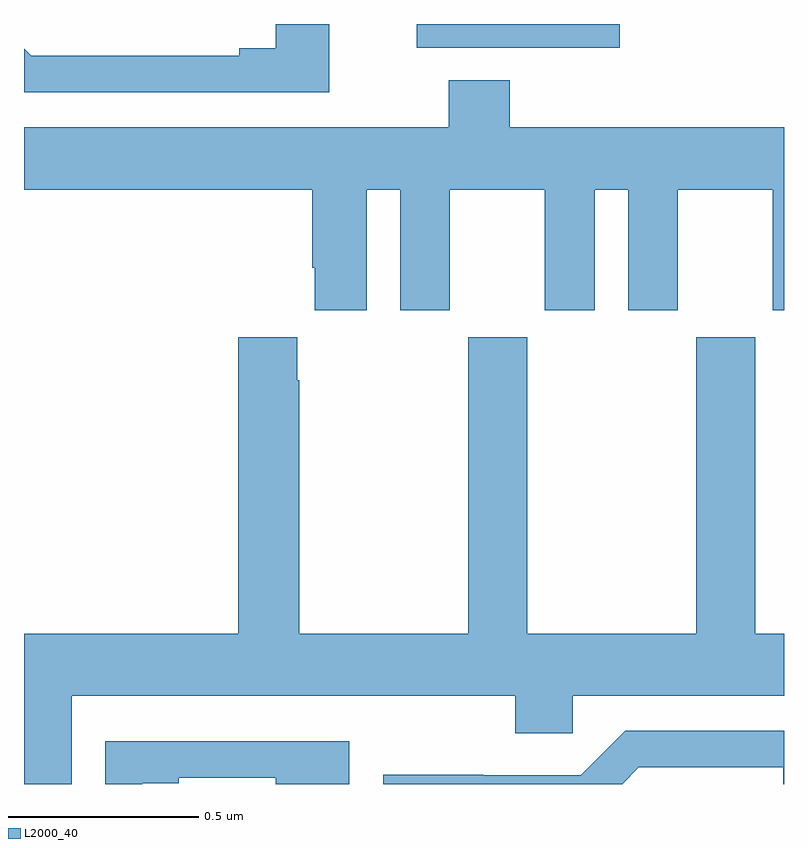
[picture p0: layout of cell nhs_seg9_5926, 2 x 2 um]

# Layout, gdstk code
import gdstk
lib = gdstk.Library(unit=1e-6, precision=1e-09)
def R(c, l, rs):  # rectangles x0, y0, x1, y1
    for r in rs: c.add(gdstk.rectangle(r[:2], r[2:], *l))
def P(c, l, *ps):  # polygons
    for p in ps: c.add(gdstk.Polygon(p, *l))
L2000_40 = (2000, 40)

nhs_seg9_5926 = lib.new_cell('nhs_seg9_5926')
R(nhs_seg9_5926, L2000_40, [(186.034,1219.437,186.568,1219.5)])
P(nhs_seg9_5926, L2000_40, [(185.803,1219.5),(185.663,1219.5),(185.663,1219.436),(185.567,1219.436),(185.567,1219.416),(185.019,1219.416),(185,1219.435),(185,1219.32),(185.803,1219.32)],
  [(185.902,1219.064),(185.99,1219.064),(185.99,1218.747),(186.121,1218.747),(186.121,1219.064),(186.371,1219.064),(186.371,1218.747),(186.502,1218.747),(186.502,1219.064),(186.59,1219.064),(186.59,1218.747),(186.721,1218.747),(186.721,1219.064),(186.971,1219.064),(186.971,1218.747),(187,1218.747),(187,1219.228),(186.278,1219.228),(186.278,1219.352),(186.118,1219.352),(186.118,1219.228),(185,1219.228),(185,1219.064),(185.759,1219.064),(185.759,1218.859),(185.765,1218.859),(185.765,1218.747),(185.902,1218.747)],
  [(185.125,1217.732),(186.293,1217.732),(186.293,1217.634),(186.444,1217.634),(186.444,1217.732),(187,1217.732),(187,1217.896),(186.924,1217.896),(186.924,1218.676),(186.769,1218.676),(186.769,1217.896),(186.324,1217.896),(186.324,1218.676),(186.169,1218.676),(186.169,1217.896),(185.724,1217.896),(185.724,1218.563),(185.719,1218.563),(185.719,1218.676),(185.564,1218.676),(185.564,1217.896),(185,1217.896),(185,1217.5),(185.125,1217.5)],
  [(186.618,1217.544),(186.998,1217.544),(186.998,1217.5),(187,1217.5),(187,1217.64),(186.582,1217.64),(186.465,1217.523),(186.209,1217.523),(186.209,1217.525),(185.946,1217.525),(185.946,1217.5),(186.574,1217.5)],
  [(185.311,1217.502),(185.407,1217.502),(185.407,1217.517),(185.663,1217.517),(185.663,1217.5),(185.856,1217.5),(185.856,1217.613),(185.214,1217.613),(185.214,1217.5),(185.311,1217.5)])

lib.write_gds('nhs_seg9_5926.gds')
